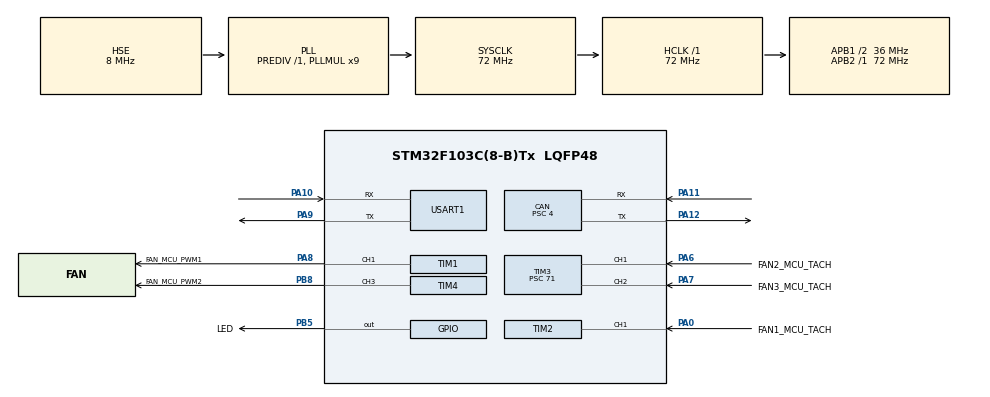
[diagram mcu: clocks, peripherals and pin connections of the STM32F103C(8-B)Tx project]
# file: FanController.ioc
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CAN.AutoBusOff=ENABLE
CAN.AutoRetransmission=ENABLE
CAN.BS1=CAN_BS1_13TQ
CAN.BS2=CAN_BS2_4TQ
CAN.CalculateBaudRate=500000
CAN.CalculateTimeBit=2000
CAN.CalculateTimeQuantum=111.11111111111111
CAN.Prescaler=4
Mcu.Family=STM32F1
Mcu.Name=STM32F103C(8-B)Tx
Mcu.Package=LQFP48
NVIC.PriorityGroup=NVIC_PRIORITYGROUP_4
NVIC.TIM2_IRQn=true\:0\:0\:false\:false\:true\:true\:true\:true
NVIC.TIM3_IRQn=true\:0\:0\:false\:false\:true\:true\:true\:true
NVIC.USB_LP_CAN1_RX0_IRQn=true\:0\:0\:false\:false\:true\:true\:true\:true
PA0-WKUP.GPIO_Label=FAN1_MCU_TACH
PA0-WKUP.Signal=S_TIM2_CH1_ETR
PA10.Mode=Asynchronous
PA10.Signal=USART1_RX
PA11.Mode=CAN_Activate
PA11.Signal=CAN_RX
PA12.Mode=CAN_Activate
PA12.Signal=CAN_TX
PA13.Mode=Serial_Wire
PA13.Signal=SYS_JTMS-SWDIO
PA14.Mode=Serial_Wire
PA14.Signal=SYS_JTCK-SWCLK
PA6.GPIO_Label=FAN2_MCU_TACH
PA6.Signal=S_TIM3_CH1
PA7.GPIO_Label=FAN3_MCU_TACH
PA7.Signal=S_TIM3_CH2
PA8.GPIO_Label=FAN_MCU_PWM1
PA8.Signal=S_TIM1_CH1
PA9.Mode=Asynchronous
PA9.Signal=USART1_TX
PB5.GPIO_Label=LED
PB5.PinState=GPIO_PIN_SET
PB5.Signal=GPIO_Output
PB8.GPIO_Label=FAN_MCU_PWM2
PB8.Signal=S_TIM4_CH3
PD0-OSC_IN.Mode=HSE-External-Oscillator
PD0-OSC_IN.Signal=RCC_OSC_IN
PD1-OSC_OUT.Mode=HSE-External-Oscillator
PD1-OSC_OUT.Signal=RCC_OSC_OUT
ProjectManager.HeapSize=0x200
ProjectManager.StackSize=0x400
ProjectManager.TargetToolchain=CMake
RCC.AHBFreq_Value=72000000
RCC.APB1CLKDivider=RCC_HCLK_DIV2
RCC.APB1Freq_Value=36000000
RCC.APB1TimFreq_Value=72000000
RCC.APB2Freq_Value=72000000
RCC.APB2TimFreq_Value=72000000
RCC.EnbaleCSS=true
RCC.HCLKFreq_Value=72000000
RCC.PLLMUL=RCC_PLL_MUL9
RCC.PLLSourceVirtual=RCC_PLLSOURCE_HSE
RCC.SYSCLKFreq_VALUE=72000000
RCC.SYSCLKSource=RCC_SYSCLKSOURCE_PLLCLK
RCC.USBFreq_Value=72000000
SH.S_TIM1_CH1.0=TIM1_CH1,PWM Generation1 CH1
SH.S_TIM2_CH1_ETR.0=TIM2_CH1,Input_Capture1_from_TI1
SH.S_TIM3_CH1.0=TIM3_CH1,Input_Capture1_from_TI1
SH.S_TIM3_CH2.0=TIM3_CH2,Input_Capture2_from_TI2
SH.S_TIM4_CH3.0=TIM4_CH3,PWM Generation3 CH3
TIM1.Channel-PWM\ Generation1\ CH1=TIM_CHANNEL_1
TIM1.Period=999
TIM1.Prescaler=35
TIM2.Channel-Input_Capture1_from_TI1=TIM_CHANNEL_1
TIM2.ICFilter_CH1=4
TIM2.ICPolarity_CH1=TIM_INPUTCHANNELPOLARITY_FALLING
TIM2.Prescaler=71
TIM3.Channel-Input_Capture1_from_TI1=TIM_CHANNEL_1
TIM3.Channel-Input_Capture2_from_TI2=TIM_CHANNEL_2
TIM3.ICFilter_CH1=4
TIM3.ICFilter_CH2=4
TIM3.ICPolarity_CH1=TIM_INPUTCHANNELPOLARITY_FALLING
TIM3.ICPolarity_CH2=TIM_INPUTCHANNELPOLARITY_FALLING
TIM3.Prescaler=71
TIM4.Channel-PWM\ Generation3\ CH3=TIM_CHANNEL_3
TIM4.Period=999
TIM4.Prescaler=35
USART1.VirtualMode=VM_ASYNC
VP_TIM1_VS_ClockSourceINT.Mode=Internal
VP_TIM2_VS_ClockSourceINT.Mode=Internal
VP_TIM3_VS_ClockSourceINT.Mode=Internal
VP_TIM4_VS_ClockSourceINT.Mode=Internal
board=custom

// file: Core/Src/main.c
/* USER CODE BEGIN Header */
/**
  ******************************************************************************
  * @file           : main.c
  * @brief          : Main program body
  ******************************************************************************
  * @attention
  *
  * Copyright (c) 2026 STMicroelectronics.
  * All rights reserved.
  *
  * This software is licensed under terms that can be found in the LICENSE file
  * in the root directory of this software component.
  * If no LICENSE file comes with this software, it is provided AS-IS.
  *
  ******************************************************************************
  */
/* USER CODE END Header */
#include "main.h"
#include "can.h"
#include "tim.h"
#include "usart.h"
#include "gpio.h"

/* USER CODE BEGIN Includes */
#include "fan_controller.h"
/* USER CODE END Includes */

void SystemClock_Config(void);

int main(void)
{

  /* MCU Configuration--------------------------------------------------------*/

  /* Reset of all peripherals, Initializes the Flash interface and the Systick. */
  HAL_Init();

  /* Configure the system clock */
  SystemClock_Config();

  /* Initialize all configured peripherals */
  MX_GPIO_Init();
  MX_CAN_Init();
  MX_USART1_UART_Init();
  MX_TIM1_Init();
  MX_TIM2_Init();
  MX_TIM3_Init();
  MX_TIM4_Init();
  /* USER CODE BEGIN 2 */
    CAN_FilterTypeDef sFilterConfig;

    /* 16位列表模式可放4个标准ID：3个温度报文和1个风扇命令报文。 */
    sFilterConfig.FilterBank = 0;
    sFilterConfig.FilterMode = CAN_FILTERMODE_IDLIST;
    sFilterConfig.FilterScale = CAN_FILTERSCALE_16BIT;
    sFilterConfig.FilterIdHigh = FAN_CAN_ID_MOTOR_TEMP << 5;
    sFilterConfig.FilterIdLow = FAN_CAN_ID_INVERTER_TEMP << 5;
    sFilterConfig.FilterMaskIdHigh = FAN_CAN_ID_IGBT_TEMP << 5;
    sFilterConfig.FilterMaskIdLow = FAN_CAN_ID_COMMAND << 5;
    sFilterConfig.FilterFIFOAssignment = CAN_RX_FIFO0;
    sFilterConfig.FilterActivation = ENABLE;
    sFilterConfig.SlaveStartFilterBank = 14;

    if (HAL_CAN_ConfigFilter(&hcan, &sFilterConfig) != HAL_OK)
    {
      Error_Handler();
    }

    if (HAL_CAN_Start(&hcan) != HAL_OK)
    {
      Error_Handler();
    }
    if (HAL_CAN_ActivateNotification(&hcan, CAN_IT_RX_FIFO0_MSG_PENDING) != HAL_OK)
    {
      Error_Handler();
    }

    FanController_Init();
  /* USER CODE END 2 */

  /* Infinite loop */
  while (1)
  {

    /* USER CODE BEGIN 3 */
    FanController_Update();
  }
  /* USER CODE END 3 */
}

void SystemClock_Config(void)
{
  RCC_OscInitTypeDef RCC_OscInitStruct = {0};
  RCC_ClkInitTypeDef RCC_ClkInitStruct = {0};

  /** Initializes the RCC Oscillators according to the specified parameters
  * in the RCC_OscInitTypeDef structure.
  */
  RCC_OscInitStruct.OscillatorType = RCC_OSCILLATORTYPE_HSE;
  RCC_OscInitStruct.HSEState = RCC_HSE_ON;
  RCC_OscInitStruct.HSEPredivValue = RCC_HSE_PREDIV_DIV1;
  RCC_OscInitStruct.HSIState = RCC_HSI_ON;
  RCC_OscInitStruct.PLL.PLLState = RCC_PLL_ON;
  RCC_OscInitStruct.PLL.PLLSource = RCC_PLLSOURCE_HSE;
  RCC_OscInitStruct.PLL.PLLMUL = RCC_PLL_MUL9;
  if (HAL_RCC_OscConfig(&RCC_OscInitStruct) != HAL_OK)
  {
    Error_Handler();
  }

  /** Initializes the CPU, AHB and APB buses clocks
  */
  RCC_ClkInitStruct.ClockType = RCC_CLOCKTYPE_HCLK|RCC_CLOCKTYPE_SYSCLK
                              |RCC_CLOCKTYPE_PCLK1|RCC_CLOCKTYPE_PCLK2;
  RCC_ClkInitStruct.SYSCLKSource = RCC_SYSCLKSOURCE_PLLCLK;
  RCC_ClkInitStruct.AHBCLKDivider = RCC_SYSCLK_DIV1;
  RCC_ClkInitStruct.APB1CLKDivider = RCC_HCLK_DIV2;
  RCC_ClkInitStruct.APB2CLKDivider = RCC_HCLK_DIV1;

  if (HAL_RCC_ClockConfig(&RCC_ClkInitStruct, FLASH_LATENCY_2) != HAL_OK)
  {
    Error_Handler();
  }

  /** Enables the Clock Security System
  */
  HAL_RCC_EnableCSS();
}

/* USER CODE BEGIN 4 */

void HAL_CAN_RxFifo0MsgPendingCallback(CAN_HandleTypeDef *can_handle)
{
  CAN_RxHeaderTypeDef header;
  uint8_t data[8];

  if (can_handle->Instance != CAN1)
  {
    return;
  }

  while (HAL_CAN_GetRxFifoFillLevel(can_handle, CAN_RX_FIFO0) > 0U)
  {
    if (HAL_CAN_GetRxMessage(can_handle, CAN_RX_FIFO0, &header, data) != HAL_OK)
    {
      break;
    }
    FanController_OnCanFrame(&header, data);
  }
}

void HAL_TIM_IC_CaptureCallback(TIM_HandleTypeDef *htim)
{
  FanController_OnInputCapture(htim);
}

/* USER CODE END 4 */

void Error_Handler(void)
{
  __disable_irq();
  while (1)
  {
  }
}
